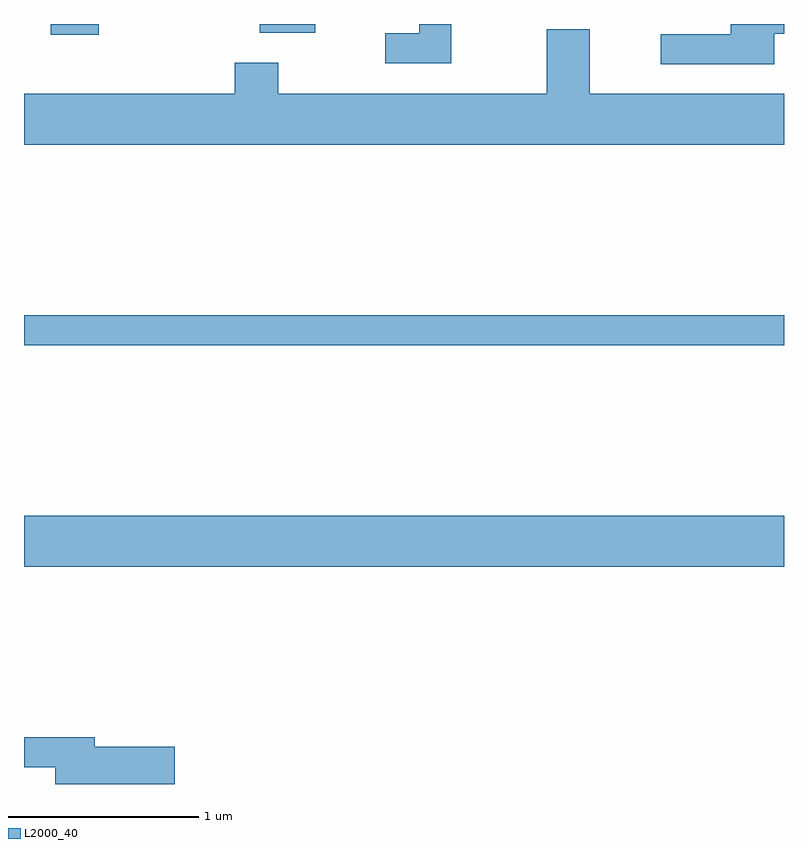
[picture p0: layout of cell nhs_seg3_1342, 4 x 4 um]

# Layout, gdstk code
import gdstk
lib = gdstk.Library(unit=1e-6, precision=1e-09)
def R(c, l, rs):  # rectangles x0, y0, x1, y1
    for r in rs: c.add(gdstk.rectangle(r[:2], r[2:], *l))
def P(c, l, *ps):  # polygons
    for p in ps: c.add(gdstk.Polygon(p, *l))
L2000_40 = (2000, 40)

nhs_seg3_1342 = lib.new_cell('nhs_seg3_1342')
R(nhs_seg3_1342, L2000_40, [(223.611,1217.036,227.611,1217.304), (223.611,1218.201,227.611,1218.359), (223.751,1219.836,224.004,1219.892), (224.851,1219.846,225.144,1219.892)])
P(nhs_seg3_1342, L2000_40, [(225.859,1219.892),(225.691,1219.892),(225.691,1219.844),(225.513,1219.844),(225.513,1219.686),(225.859,1219.686)],
  [(227.559,1219.841),(227.611,1219.841),(227.611,1219.892),(227.331,1219.892),(227.331,1219.839),(226.963,1219.839),(226.963,1219.681),(227.559,1219.681)],
  [(227.611,1219.524),(226.589,1219.524),(226.589,1219.864),(226.361,1219.864),(226.361,1219.524),(224.949,1219.524),(224.949,1219.689),(224.721,1219.689),(224.721,1219.524),(223.611,1219.524),(223.611,1219.256),(227.611,1219.256)],
  [(224.404,1216.089),(223.984,1216.089),(223.984,1216.139),(223.611,1216.139),(223.611,1215.981),(223.776,1215.981),(223.776,1215.892),(224.404,1215.892)])

lib.write_gds('nhs_seg3_1342.gds')
